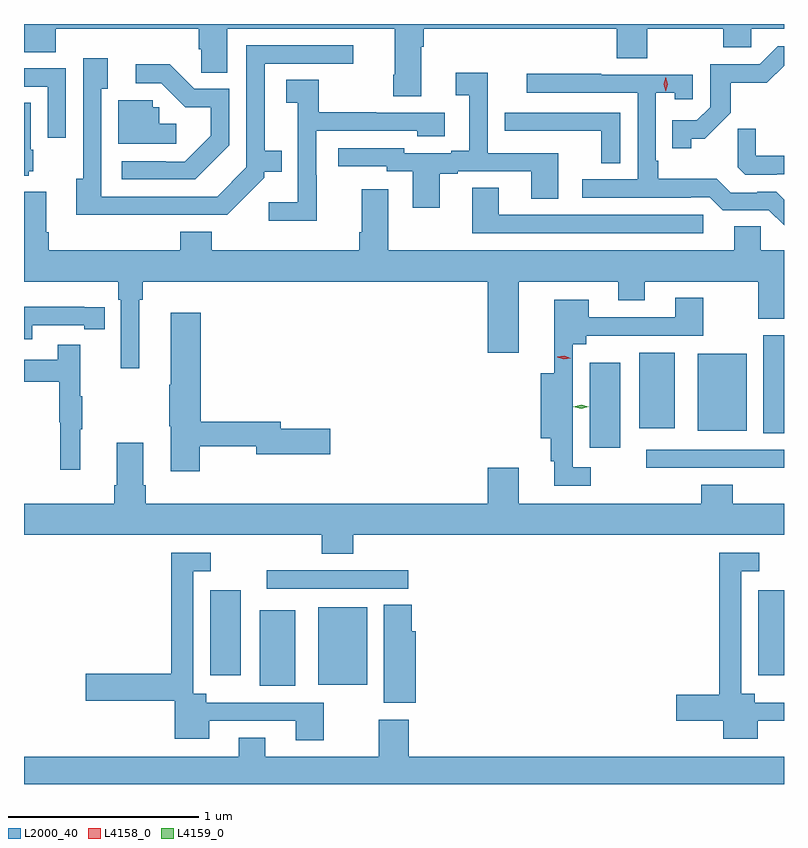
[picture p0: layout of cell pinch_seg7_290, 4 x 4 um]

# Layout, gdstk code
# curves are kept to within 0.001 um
import gdstk
lib = gdstk.Library(unit=1e-6, precision=1e-09)
def R(c, l, rs):  # rectangles x0, y0, x1, y1
    for r in rs: c.add(gdstk.rectangle(r[:2], r[2:], *l))
def P(c, l, *ps):  # polygons
    for p in ps: c.add(gdstk.Polygon(p, *l))
L2000_40 = (2000, 40)
L4158_0 = (4158, 0)
L4159_0 = (4159, 0)

pinch_seg7_290 = lib.new_cell('pinch_seg7_290')
R(pinch_seg7_290, L2000_40, [(559.412,1071.749,559.6,1072.147), (559.721,1071.755,559.978,1072.162), (559.151,1071.804,559.312,1072.252), (562.037,1071.804,562.172,1072.252), (559.449,1072.26,560.194,1072.356), (561.447,1072.896,562.172,1072.992), (561.149,1073.001,561.31,1073.449), (562.064,1073.077,562.172,1073.593), (561.719,1073.09,561.976,1073.497), (561.41,1073.105,561.598,1073.503)])
P(pinch_seg7_290, L2000_40, [(560.263,1075.112),(560.276,1075.112),(560.276,1075.208),(561.293,1075.208),(561.293,1075.051),(561.453,1075.051),(561.453,1075.208),(561.853,1075.208),(561.853,1075.11),(561.999,1075.11),(561.999,1075.208),(562.172,1075.208),(562.172,1075.232),(558.172,1075.232),(558.172,1075.208),(558.173,1075.208),(558.173,1075.084),(558.338,1075.084),(558.338,1075.208),(559.091,1075.208),(559.091,1075.098),(559.105,1075.098),(559.105,1074.976),(559.243,1074.976),(559.243,1075.208),(560.123,1075.208),(560.123,1074.964),(560.116,1074.964),(560.116,1074.852),(560.263,1074.852)],
  [(558.911,1074.228),(559.242,1074.228),(559.437,1074.423),(559.437,1074.455),(559.529,1074.455),(559.529,1074.565),(559.438,1074.565),(559.438,1075.023),(559.906,1075.023),(559.906,1075.119),(559.341,1075.119),(559.341,1074.477),(559.188,1074.324),(558.579,1074.324),(558.579,1074.89),(558.613,1074.89),(558.613,1075.051),(558.483,1075.051),(558.483,1074.418),(558.446,1074.418),(558.446,1074.227)],
  [(561.684,1074.629),(561.754,1074.629),(561.892,1074.766),(561.892,1074.922),(562.081,1074.922),(562.172,1075.013),(562.172,1075.116),(562.14,1075.116),(562.044,1075.02),(561.783,1075.02),(561.783,1074.795),(561.714,1074.726),(561.583,1074.726),(561.583,1074.579),(561.684,1074.579)],
  [(559.251,1074.593),(559.251,1074.891),(559.068,1074.891),(558.94,1075.019),(558.759,1075.019),(558.759,1074.921),(558.894,1074.921),(559.021,1074.794),(559.154,1074.794),(559.154,1074.644),(559.017,1074.507),(558.917,1074.507),(558.917,1074.51),(558.687,1074.51),(558.687,1074.414),(559.072,1074.414)],
  [(558.393,1074.999),(558.172,1074.999),(558.172,1074.903),(558.297,1074.903),(558.297,1074.633),(558.393,1074.633)],
  [(560.359,1074.444),(560.455,1074.444),(560.455,1074.456),(560.843,1074.456),(560.843,1074.313),(560.983,1074.313),(560.983,1074.552),(560.613,1074.552),(560.613,1074.976),(560.445,1074.976),(560.445,1074.856),(560.516,1074.856),(560.516,1074.565),(560.42,1074.565),(560.42,1074.552),(560.172,1074.552),(560.172,1074.579),(559.827,1074.579),(559.827,1074.483),(560.082,1074.483),(560.082,1074.456),(560.219,1074.456),(560.219,1074.264),(560.359,1074.264)],
  [(562.172,1074.307),(562.131,1074.348),(562.03,1074.348),(562.03,1074.345),(561.891,1074.345),(561.818,1074.418),(561.511,1074.418),(561.511,1074.511),(561.498,1074.511),(561.498,1074.869),(561.597,1074.869),(561.597,1074.837),(561.693,1074.837),(561.693,1074.966),(561.209,1074.966),(561.209,1074.969),(560.817,1074.969),(560.817,1074.87),(561.402,1074.87),(561.402,1074.414),(561.111,1074.414),(561.111,1074.318),(561.68,1074.318),(561.68,1074.321),(561.78,1074.321),(561.849,1074.252),(562.092,1074.252),(562.172,1074.172)],
  [(559.713,1074.437),(559.71,1074.437),(559.71,1074.669),(560.241,1074.669),(560.241,1074.641),(560.386,1074.641),(560.386,1074.765),(560.027,1074.765),(560.027,1074.768),(559.723,1074.768),(559.723,1074.938),(559.551,1074.938),(559.551,1074.817),(559.614,1074.817),(559.614,1074.295),(559.461,1074.295),(559.461,1074.197),(559.713,1074.197)],
  [(558.973,1074.706),(558.885,1074.706),(558.885,1074.795),(558.849,1074.795),(558.849,1074.831),(558.668,1074.831),(558.668,1074.603),(558.973,1074.603)],
  [(558.198,1074.456),(558.22,1074.456),(558.22,1074.57),(558.208,1074.57),(558.208,1074.818),(558.172,1074.818),(558.172,1074.434),(558.198,1074.434)],
  [(561.309,1074.765),(560.703,1074.765),(560.703,1074.67),(560.815,1074.67),(560.815,1074.669),(561.211,1074.669),(561.211,1074.499),(561.309,1074.499)],
  [(562.134,1074.441),(562.172,1074.441),(562.172,1074.538),(562.022,1074.538),(562.022,1074.681),(561.928,1074.681),(561.928,1074.479),(561.969,1074.438),(562.134,1074.438)],
  [(561.748,1074.228),(560.671,1074.228),(560.671,1074.371),(560.531,1074.371),(560.531,1074.132),(561.748,1074.132)],
  [(560.089,1074.361),(559.949,1074.361),(559.949,1074.136),(559.937,1074.136),(559.937,1074.04),(559.16,1074.04),(559.16,1074.139),(558.995,1074.139),(558.995,1074.04),(558.302,1074.04),(558.302,1074.136),(558.289,1074.136),(558.289,1074.349),(558.172,1074.349),(558.172,1073.876),(558.668,1073.876),(558.668,1073.78),(558.681,1073.78),(558.681,1073.421),(558.778,1073.421),(558.778,1073.78),(558.797,1073.78),(558.797,1073.876),(560.612,1073.876),(560.612,1073.502),(560.776,1073.502),(560.776,1073.876),(561.299,1073.876),(561.299,1073.777),(561.439,1073.777),(561.439,1073.876),(562.036,1073.876),(562.036,1073.682),(562.172,1073.682),(562.172,1074.04),(562.05,1074.04),(562.05,1074.167),(561.911,1074.167),(561.911,1074.04),(560.089,1074.04)],
  [(561.154,1072.899),(561.06,1072.899),(561.06,1073.546),(561.13,1073.546),(561.13,1073.592),(561.747,1073.592),(561.747,1073.791),(561.599,1073.791),(561.599,1073.688),(561.145,1073.688),(561.145,1073.782),(560.963,1073.782),(560.963,1073.395),(560.891,1073.395),(560.891,1073.051),(560.944,1073.051),(560.944,1072.931),(560.963,1072.931),(560.963,1072.803),(561.154,1072.803)],
  [(558.216,1073.646),(558.488,1073.646),(558.488,1073.626),(558.596,1073.626),(558.596,1073.742),(558.488,1073.742),(558.488,1073.743),(558.172,1073.743),(558.172,1073.574),(558.216,1073.574)],
  [(559.098,1073.01),(559.394,1073.01),(559.394,1072.967),(559.783,1072.967),(559.783,1073.102),(559.522,1073.102),(559.522,1073.138),(559.103,1073.138),(559.103,1073.713),(558.944,1073.713),(558.944,1073.333),(558.937,1073.333),(558.937,1073.115),(558.944,1073.115),(558.944,1072.878),(559.098,1072.878)],
  [(558.467,1073.099),(558.478,1073.099),(558.478,1073.273),(558.467,1073.273),(558.467,1073.545),(558.349,1073.545),(558.349,1073.466),(558.172,1073.466),(558.172,1073.35),(558.357,1073.35),(558.357,1073.136),(558.364,1073.136),(558.364,1072.887),(558.467,1072.887)],
  [(559.904,1072.544),(562.172,1072.544),(562.172,1072.708),(561.902,1072.708),(561.902,1072.807),(561.737,1072.807),(561.737,1072.708),(560.776,1072.708),(560.776,1072.897),(560.612,1072.897),(560.612,1072.708),(558.812,1072.708),(558.812,1072.804),(558.799,1072.804),(558.799,1073.029),(558.659,1073.029),(558.659,1072.804),(558.647,1072.804),(558.647,1072.708),(558.172,1072.708),(558.172,1072.544),(559.739,1072.544),(559.739,1072.445),(559.904,1072.445)],
  [(562.033,1071.564),(562.172,1071.564),(562.172,1071.66),(562.018,1071.66),(562.018,1071.706),(561.948,1071.706),(561.948,1072.353),(562.042,1072.353),(562.042,1072.449),(561.832,1072.449),(561.832,1071.701),(561.606,1071.701),(561.606,1071.566),(561.851,1071.566),(561.851,1071.47),(562.033,1071.47)],
  [(559.749,1071.66),(559.132,1071.66),(559.132,1071.706),(559.062,1071.706),(559.062,1072.353),(559.156,1072.353),(559.156,1072.449),(558.946,1072.449),(558.946,1071.812),(558.498,1071.812),(558.498,1071.67),(558.965,1071.67),(558.965,1071.47),(559.147,1071.47),(559.147,1071.564),(559.601,1071.564),(559.601,1071.462),(559.749,1071.462)],
  [(560.234,1072.035),(560.213,1072.035),(560.213,1072.175),(560.066,1072.175),(560.066,1071.659),(560.234,1071.659)],
  [(562.172,1071.376),(560.198,1071.376),(560.198,1071.571),(560.038,1071.571),(560.038,1071.376),(559.441,1071.376),(559.441,1071.475),(559.301,1071.475),(559.301,1071.376),(558.172,1071.376),(558.172,1071.232),(562.172,1071.232)])
P(pinch_seg7_290, L4158_0, [(561.549,1074.878),(561.549,1074.879),(561.54,1074.915),(561.55,1074.951),(561.55,1074.951),(561.55,1074.951),(561.56,1074.914),(561.549,1074.879)],
  [(561.013,1073.467),(560.979,1073.479),(560.979,1073.479),(560.979,1073.48),(561.015,1073.487),(561.049,1073.474),(561.049,1073.474),(561.049,1073.474)])
P(pinch_seg7_290, L4159_0, [(561.105,1073.208),(561.064,1073.218),(561.064,1073.218),(561.064,1073.218),(561.104,1073.228),(561.145,1073.218),(561.145,1073.218),(561.145,1073.218)])

lib.write_gds('pinch_seg7_290.gds')
